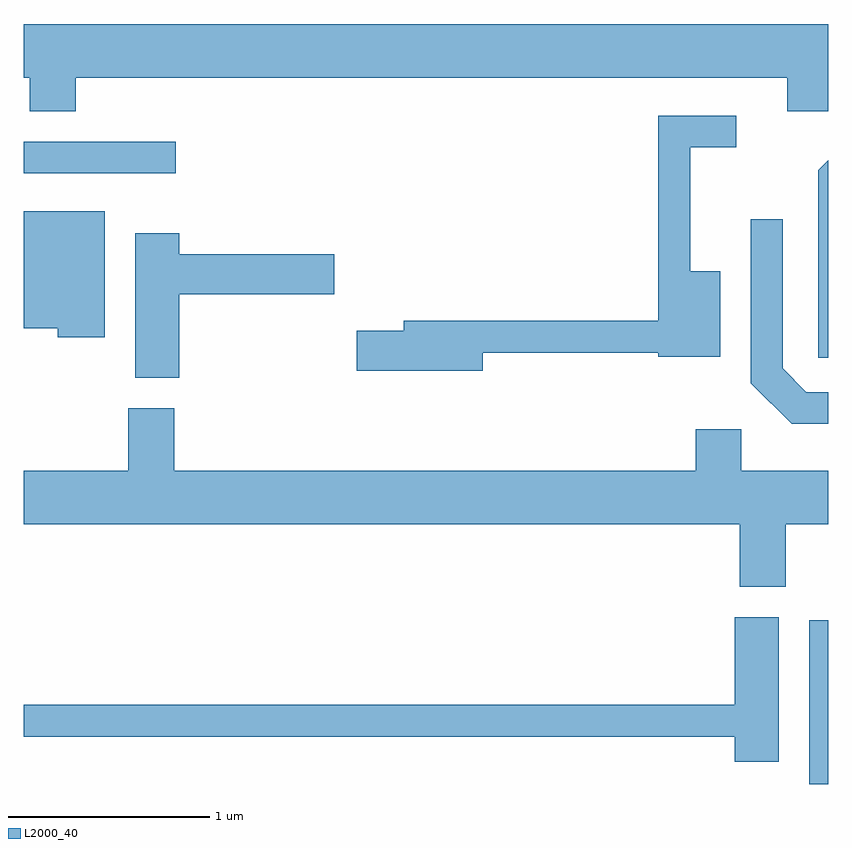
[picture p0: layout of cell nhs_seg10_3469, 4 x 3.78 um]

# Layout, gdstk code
import gdstk
lib = gdstk.Library(unit=1e-6, precision=1e-09)
def R(c, l, rs):  # rectangles x0, y0, x1, y1
    for r in rs: c.add(gdstk.rectangle(r[:2], r[2:], *l))
def P(c, l, *ps):  # polygons
    for p in ps: c.add(gdstk.Polygon(p, *l))
L2000_40 = (2000, 40)

nhs_seg10_3469 = lib.new_cell('nhs_seg10_3469')
R(nhs_seg10_3469, L2000_40, [(291.516,2112.626,291.611,2113.439), (287.611,2115.661,288.368,2115.819)])
P(nhs_seg10_3469, L2000_40, [(287.869,2116.136),(291.406,2116.136),(291.406,2115.971),(291.611,2115.971),(291.611,2116.404),(287.611,2116.404),(287.611,2116.136),(287.641,2116.136),(287.641,2115.971),(287.869,2115.971)],
  [(289.894,2114.771),(290.766,2114.771),(290.766,2114.751),(291.074,2114.751),(291.074,2115.174),(290.924,2115.174),(290.924,2115.791),(291.153,2115.791),(291.153,2115.949),(290.766,2115.949),(290.766,2114.929),(289.501,2114.929),(289.501,2114.879),(289.266,2114.879),(289.266,2114.681),(289.894,2114.681)],
  [(291.611,2115.727),(291.561,2115.677),(291.561,2114.746),(291.611,2114.746)],
  [(288.014,2115.474),(287.611,2115.474),(287.611,2114.891),(287.781,2114.891),(287.781,2114.846),(288.014,2114.846)],
  [(291.611,2114.574),(291.502,2114.574),(291.384,2114.692),(291.384,2115.433),(291.226,2115.433),(291.226,2114.619),(291.429,2114.416),(291.611,2114.416)],
  [(288.384,2115.061),(289.154,2115.061),(289.154,2115.259),(288.384,2115.259),(288.384,2115.364),(288.166,2115.364),(288.166,2114.646),(288.384,2114.646)],
  [(291.399,2113.916),(291.611,2113.916),(291.611,2114.184),(291.179,2114.184),(291.179,2114.389),(290.951,2114.389),(290.951,2114.184),(288.359,2114.184),(288.359,2114.494),(288.131,2114.494),(288.131,2114.184),(287.611,2114.184),(287.611,2113.916),(291.171,2113.916),(291.171,2113.606),(291.399,2113.606)],
  [(291.364,2113.454),(291.146,2113.454),(291.146,2113.019),(287.611,2113.019),(287.611,2112.861),(291.146,2112.861),(291.146,2112.736),(291.364,2112.736)])

lib.write_gds('nhs_seg10_3469.gds')
